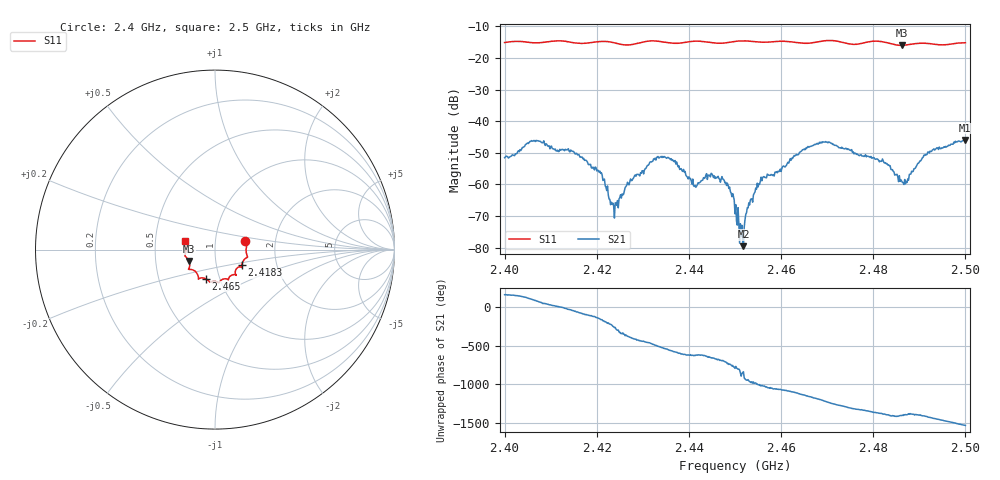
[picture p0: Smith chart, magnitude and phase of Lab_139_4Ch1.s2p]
# Hz S RI R 50
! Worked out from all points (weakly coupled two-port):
!   601 points, 2.4 GHz to 2.5 GHz, reference 50 ohm
!   highest |S21| = -45.98 dB at 2.4998 GHz (marker M1); lowest = -79.5 dB at 2.4518 GHz (marker M2)
!   lowest |S11| = -16.0 dB at 2.4862 GHz (marker M3), VSWR 1.37, Z = 37.1 - j4.82 ohm
!   |S11| at or under -10 dB: start of sweep to end of sweep
!   S12 and S22 are empty: the file has one direction only
!   S11 on the Smith chart (normalised r, x): 2.4 GHz: 1.40, +0.13; 2.4183 GHz: 1.33, -0.24; 2.465 GHz: 0.86, -0.29; 2.5 GHz: 0.71, +0.07
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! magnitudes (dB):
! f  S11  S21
! 2.4 GHz  -15.1  -51.5
! 2.4068 GHz  -15.2  -46.1
! 2.4167 GHz  -15.4  -51.4
! 2.4183 GHz  -15.2  -53.8
! 2.4207 GHz  -14.8  -55.8
! 2.4242 GHz  -15.4  -65.8
! 2.4268 GHz  -15.9  -59.9
! 2.4333 GHz  -14.7  -51.2
! 2.4415 GHz  -14.7  -60.9
! 2.4475 GHz  -15.3  -58.4
! 2.45 GHz  -14.8  -69.3
! 2.4513 GHz  -14.6  -76.4
! 2.4518 GHz  -14.6  -79.5
! 2.453 GHz  -14.7  -65.8
! 2.4557 GHz  -15.0  -57.7
! 2.465 GHz  -15.4  -48.8
! 2.4667 GHz  -15.2  -47.8
! 2.4833 GHz  -15.3  -53.8
! 2.4862 GHz  -16.0  -58.9
! 2.4923 GHz  -15.5  -49.5
! 2.4998 GHz  -15.2  -46.0
! 2.5 GHz  -15.2  -46.0
